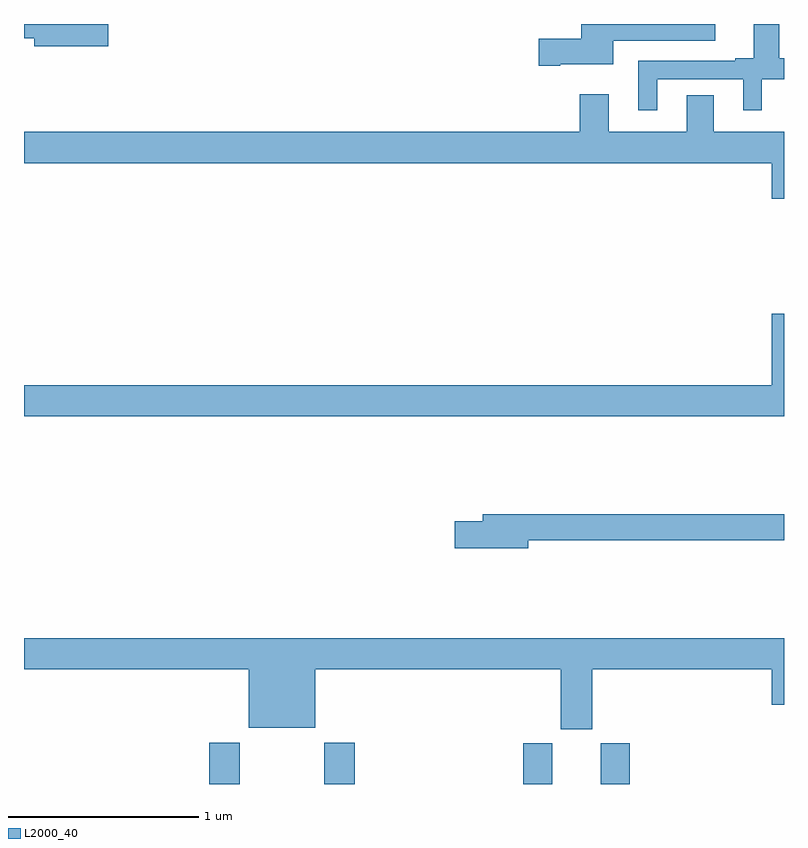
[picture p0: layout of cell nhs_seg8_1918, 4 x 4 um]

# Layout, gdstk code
import gdstk
lib = gdstk.Library(unit=1e-6, precision=1e-09)
def R(c, l, rs):  # rectangles x0, y0, x1, y1
    for r in rs: c.add(gdstk.rectangle(r[:2], r[2:], *l))
def P(c, l, *ps):  # polygons
    for p in ps: c.add(gdstk.Polygon(p, *l))
L2000_40 = (2000, 40)

nhs_seg8_1918 = lib.new_cell('nhs_seg8_1918')
R(nhs_seg8_1918, L2000_40, [(233.975,1111.9,234.135,1112.116), (234.58,1111.9,234.74,1112.116), (235.628,1111.9,235.78,1112.115), (236.036,1111.9,236.189,1112.115)])
P(nhs_seg8_1918, L2000_40, [(236.332,1115.61),(236.786,1115.61),(236.786,1115.445),(236.884,1115.445),(236.884,1115.61),(237,1115.61),(237,1115.719),(236.974,1115.719),(236.974,1115.9),(236.84,1115.9),(236.84,1115.719),(236.744,1115.719),(236.744,1115.706),(236.234,1115.706),(236.234,1115.445),(236.332,1115.445)],
  [(235.822,1115.687),(236.101,1115.687),(236.101,1115.813),(236.638,1115.813),(236.638,1115.9),(235.934,1115.9),(235.934,1115.822),(235.71,1115.822),(235.71,1115.68),(235.822,1115.68)],
  [(233.443,1115.9),(233,1115.9),(233,1115.824),(233.054,1115.824),(233.054,1115.782),(233.443,1115.782)],
  [(237,1115.332),(236.629,1115.332),(236.629,1115.525),(236.489,1115.525),(236.489,1115.332),(236.077,1115.332),(236.077,1115.53),(235.925,1115.53),(235.925,1115.332),(233,1115.332),(233,1115.168),(236.936,1115.168),(236.936,1114.98),(237,1114.98)],
  [(237,1114.375),(236.936,1114.375),(236.936,1114),(233,1114),(233,1113.836),(237,1113.836)],
  [(235.654,1113.184),(237,1113.184),(237,1113.32),(235.415,1113.32),(235.415,1113.284),(235.266,1113.284),(235.266,1113.142),(235.654,1113.142)],
  [(235.99,1112.504),(236.936,1112.504),(236.936,1112.316),(237,1112.316),(237,1112.668),(233,1112.668),(233,1112.504),(234.182,1112.504),(234.182,1112.195),(234.532,1112.195),(234.532,1112.504),(235.826,1112.504),(235.826,1112.187),(235.99,1112.187)])

lib.write_gds('nhs_seg8_1918.gds')
